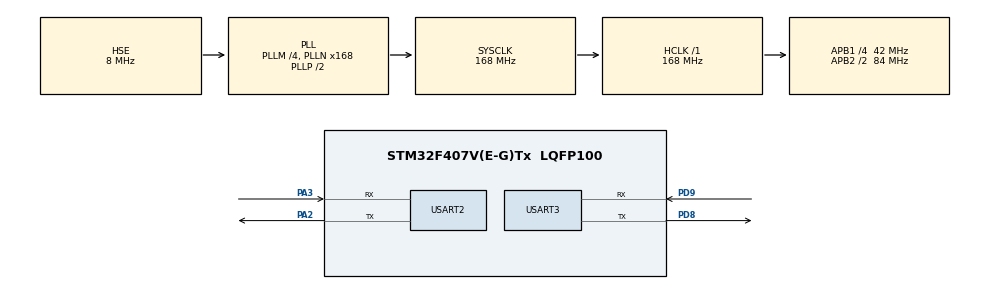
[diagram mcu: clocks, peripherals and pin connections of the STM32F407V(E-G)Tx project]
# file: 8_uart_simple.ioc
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Mcu.Family=STM32F4
Mcu.Name=STM32F407V(E-G)Tx
Mcu.Package=LQFP100
NVIC.PriorityGroup=NVIC_PRIORITYGROUP_4
PA13.Mode=Serial_Wire
PA13.Signal=SYS_JTMS-SWDIO
PA14.Mode=Serial_Wire
PA14.Signal=SYS_JTCK-SWCLK
PA2.Mode=Asynchronous
PA2.Signal=USART2_TX
PA3.Mode=Asynchronous
PA3.Signal=USART2_RX
PD8.Mode=Asynchronous
PD8.Signal=USART3_TX
PD9.Mode=Asynchronous
PD9.Signal=USART3_RX
PH0-OSC_IN.Mode=HSE-External-Oscillator
PH0-OSC_IN.Signal=RCC_OSC_IN
PH1-OSC_OUT.Mode=HSE-External-Oscillator
PH1-OSC_OUT.Signal=RCC_OSC_OUT
ProjectManager.HeapSize=0x2000
ProjectManager.StackSize=0x4000
ProjectManager.TargetToolchain=MDK-ARM V5.27
RCC.48MHZClocksFreq_Value=84000000
RCC.AHBFreq_Value=168000000
RCC.APB1CLKDivider=RCC_HCLK_DIV4
RCC.APB1Freq_Value=42000000
RCC.APB1TimFreq_Value=84000000
RCC.APB2CLKDivider=RCC_HCLK_DIV2
RCC.APB2Freq_Value=84000000
RCC.APB2TimFreq_Value=168000000
RCC.CortexFreq_Value=168000000
RCC.HCLKFreq_Value=168000000
RCC.HSE_VALUE=8000000
RCC.HSI_VALUE=16000000
RCC.LSE_VALUE=32768
RCC.PLLM=4
RCC.PLLN=168
RCC.PLLSourceVirtual=RCC_PLLSOURCE_HSE
RCC.SYSCLKFreq_VALUE=168000000
RCC.SYSCLKSource=RCC_SYSCLKSOURCE_PLLCLK
RCC.VCOOutputFreq_Value=336000000
USART2.VirtualMode=VM_ASYNC
USART3.VirtualMode=VM_ASYNC
board=custom

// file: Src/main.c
/* USER CODE BEGIN Header */
/**
  ******************************************************************************
  * @file           : main.c
  * @brief          : Main program body
  ******************************************************************************
  * @attention
  *
  * <h2><center>&copy; Copyright (c) 2020 STMicroelectronics.
  * All rights reserved.</center></h2>
  *
  * This software component is licensed by ST under BSD 3-Clause license,
  * the "License"; You may not use this file except in compliance with the
  * License. You may obtain a copy of the License at:
  *                        opensource.org/licenses/BSD-3-Clause
  *
  ******************************************************************************
  */
/* USER CODE END Header */

#include "main.h"
#include "usart.h"
#include "gpio.h"

/* USER CODE BEGIN PD */
#define BOARD1
//#define BOARD2
/* USER CODE END PD */

void SystemClock_Config(void);

int main(void)
{
  /* USER CODE BEGIN 1 */
#ifdef BOARD1
	uint8_t usart2_rx_buf[10] = {0};
	uint8_t usart2_tx_buf[10] = {12, 2, 3, 4, 5, 6, 7, 8, 9, 10};
#endif
#ifdef BOARD2
	uint8_t usart3_rx_buf[10] = {0};
	uint8_t usart3_tx_buf[10] = {0, 2, 3, 4, 5, 6, 7, 8, 9, 0};
#endif
  /* USER CODE END 1 */

  /* MCU Configuration--------------------------------------------------------*/

  /* Reset of all peripherals, Initializes the Flash interface and the Systick. */
  HAL_Init();

  /* Configure the system clock */
  SystemClock_Config();

  /* Initialize all configured peripherals */
  MX_GPIO_Init();
#ifdef BOARD1
  MX_USART2_UART_Init();
#endif
#ifdef BOARD2
  MX_USART3_UART_Init();
#endif

  /* Infinite loop */
  /* USER CODE BEGIN WHILE */
  while (1)
  {
#ifdef BOARD1
		HAL_UART_Transmit(&huart2, 	usart2_tx_buf, 10, 100);
		HAL_UART_Receive(&huart3, 	usart2_rx_buf, 10, 100);
		HAL_Delay(500);
#endif
#ifdef BOARD2
		HAL_UART_Receive(&huart3, 	usart2_rx_buf, 10, 100);
		HAL_UART_Transmit(&huart2, 	usart2_tx_buf, 10, 100);
		HAL_Delay(500);
#endif
    /* USER CODE END WHILE */

  }
}

void SystemClock_Config(void)
{
  RCC_OscInitTypeDef RCC_OscInitStruct = {0};
  RCC_ClkInitTypeDef RCC_ClkInitStruct = {0};

  /** Configure the main internal regulator output voltage
  */
  __HAL_RCC_PWR_CLK_ENABLE();
  __HAL_PWR_VOLTAGESCALING_CONFIG(PWR_REGULATOR_VOLTAGE_SCALE1);
  /** Initializes the CPU, AHB and APB busses clocks
  */
  RCC_OscInitStruct.OscillatorType = RCC_OSCILLATORTYPE_HSE;
  RCC_OscInitStruct.HSEState = RCC_HSE_ON;
  RCC_OscInitStruct.PLL.PLLState = RCC_PLL_ON;
  RCC_OscInitStruct.PLL.PLLSource = RCC_PLLSOURCE_HSE;
  RCC_OscInitStruct.PLL.PLLM = 4;
  RCC_OscInitStruct.PLL.PLLN = 168;
  RCC_OscInitStruct.PLL.PLLP = RCC_PLLP_DIV2;
  RCC_OscInitStruct.PLL.PLLQ = 4;
  if (HAL_RCC_OscConfig(&RCC_OscInitStruct) != HAL_OK)
  {
    Error_Handler();
  }
  /** Initializes the CPU, AHB and APB busses clocks
  */
  RCC_ClkInitStruct.ClockType = RCC_CLOCKTYPE_HCLK|RCC_CLOCKTYPE_SYSCLK
                              |RCC_CLOCKTYPE_PCLK1|RCC_CLOCKTYPE_PCLK2;
  RCC_ClkInitStruct.SYSCLKSource = RCC_SYSCLKSOURCE_PLLCLK;
  RCC_ClkInitStruct.AHBCLKDivider = RCC_SYSCLK_DIV1;
  RCC_ClkInitStruct.APB1CLKDivider = RCC_HCLK_DIV4;
  RCC_ClkInitStruct.APB2CLKDivider = RCC_HCLK_DIV2;

  if (HAL_RCC_ClockConfig(&RCC_ClkInitStruct, FLASH_LATENCY_5) != HAL_OK)
  {
    Error_Handler();
  }
}

void Error_Handler(void)
{
}

/************************ (C) COPYRIGHT STMicroelectronics *****END OF FILE****/
